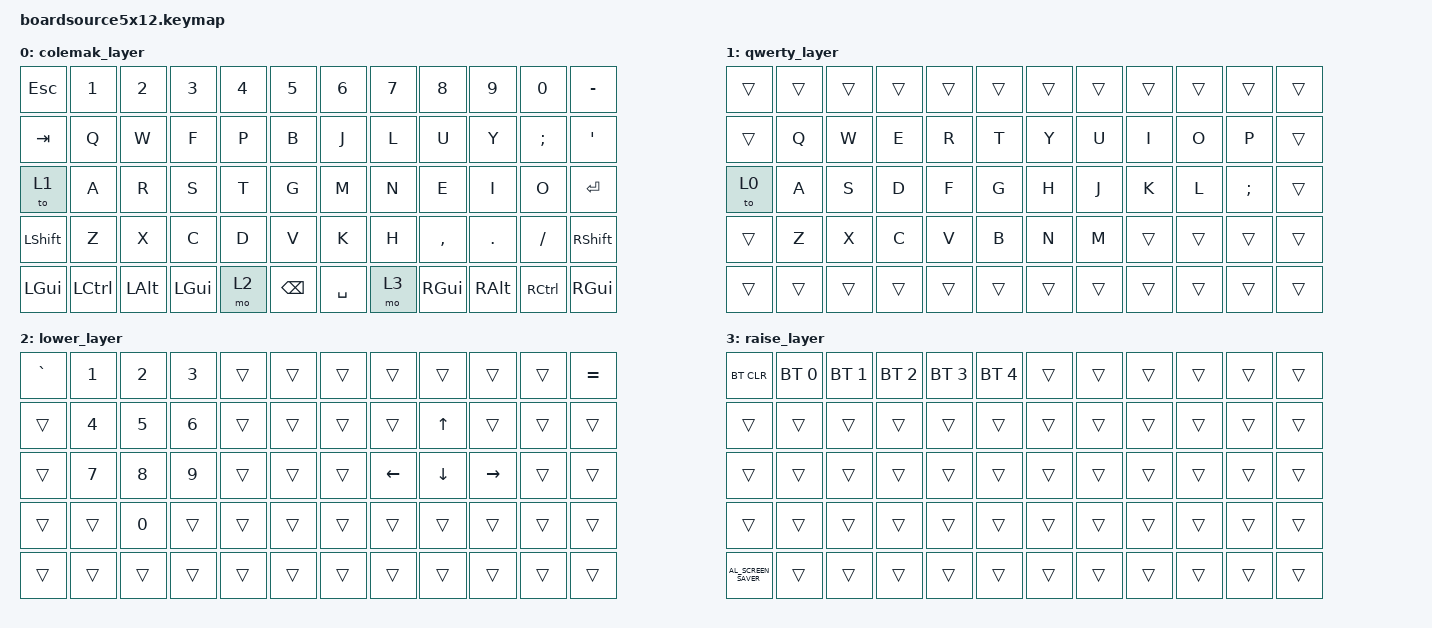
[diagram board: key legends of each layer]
/*
 * Copyright (c) 2021 The ZMK Contributors
 *
 * SPDX-License-Identifier: MIT
 */
 
#include <behaviors.dtsi>
#include <dt-bindings/zmk/keys.h>
#include <dt-bindings/zmk/bt.h>
#include <dt-bindings/zmk/outputs.h>

#define	COLEMAK	0
#define	QWERTY	1
#define	LOWER	2
#define	RAISE	3

/ {
    keymap {
        compatible = "zmk,keymap";

        colemak_layer {
            // ------------------------------------------------------------------------------------------
            // |  ESC  |  1   |  2   |  3   |  4   |  5   |   6   |   7   |  8   |  9   |   0   |   -   |
            // |  TAB  |  Q   |  W   |  F   |  P   |  B   |   J   |   L   |  U   |  Y   |   ;   |   '   |
            // | TO(1) |  A   |  R   |  S   |  T   |  G   |   M   |   N   |  E   |  I   |   O   | ENTER |
            // | SHIFT |  Z   |  X   |  C   |  D   |  V   |   K   |   H   |  ,   |  .   |   /   | SHIFT |
            // |  LGUI | LCTL | LALT | LGUI | LOWR | BKSPC| SPACE |  RAIS | RGUI | RALT | RCTL  |  RGUI |


            bindings = <
                &kp ESC    &kp N1       &kp N2      &kp N3   &kp N4     &kp N5      &kp N6      &kp N7  &kp N8      &kp N9      &kp N0      &kp MINUS
                &kp TAB    &kp Q        &kp W       &kp F    &kp P      &kp B       &kp J       &kp L   &kp U       &kp Y       &kp SEMI    &kp SQT
                &to 1	   &kp A        &kp R       &kp S    &kp T      &kp G       &kp M       &kp N   &kp E       &kp I       &kp O	    &kp RET
                &kp LSHFT  &kp Z        &kp X       &kp C    &kp D      &kp V       &kp K       &kp H   &kp COMMA   &kp DOT     &kp FSLH    &kp RSHFT
                &kp LGUI   &kp LCTRL    &kp LALT    &kp LGUI &mo 2      &kp BSPC    &kp SPACE   &mo 3   &kp RGUI    &kp RALT    &kp RCTRL   &kp RGUI
            >;
        };

        qwerty_layer {
           // ------------------------------------------------------------------------------------------
            // |       |      |      |      |      |      |       |       |      |      |       |       |
            // |       |  Q   |  W   |  E   |  R   |  T   |   Y   |   U   |  I   |  O   |   P   |       |
            // | TO(0) |  A   |  S   |  D   |  F   |  G   |   H   |   J   |  K   |  L   |   ;   |       |
            // |       |  Z   |  X   |  C   |  V   |  B   |   N   |   M   |      |      |       |       |
            // |       |      |      |      |      |      |       |       |      |      |       | 	|
	    
	    
            bindings = <
                &trans	&trans	&trans	&trans	&trans	&trans	&trans	&trans	&trans	&trans	&trans	  &trans
                &trans	&kp Q	&kp W	&kp E	&kp R	&kp T	&kp Y	&kp U	&kp I	&kp O	&kp P	  &trans
                &to 0	&kp A	&kp S	&kp D	&kp F	&kp G	&kp H	&kp J	&kp K	&kp L	&kp SEMI  &trans
                &trans	&kp Z	&kp X	&kp C	&kp V	&kp B	&kp N	&kp M	&trans	&trans	&trans	  &trans
               	&trans	&trans	&trans	&trans	&trans	&trans	&trans	&trans	&trans	&trans	&trans	  &trans
            >;
        };

        lower_layer {
            // -----------------------------------------------------------------------------------------
            // |   `   |   1  |   2  |   3  |      |      |       |       |      |      |       |   +   |
            // |       |   4  |   5  |   6  |      |      |       |       |   ^  |      |       |       |
            // |       |   7  |   8  |   9  |      |      |       |   <-  |   V  |  ->  |       |       |
            // |       |      |   0  |      |      |      |       |       |      |      |       |       |
            // |       |      |      |      |      |      |       |       |      |      |       |       |
	    
	    
            bindings = <
                &kp GRAVE	&kp N1	&kp N2	&kp N3	&trans	&trans	&trans	&trans		&trans		&trans		&trans	  &kp EQUAL
                &trans		&kp N4	&kp N5	&kp N6	&trans	&trans	&trans	&trans		&kp UP		&trans		&trans	  &trans
                &trans		&kp N7	&kp N8	&kp N9	&trans	&trans	&trans	&kp LEFT	&kp DOWN	&kp RIGHT	&trans	  &trans
                &trans		&trans	&kp N0	&trans	&trans	&trans	&trans	&trans		&trans		&trans		&trans	  &trans
               	&trans		&trans	&trans	&trans	&trans	&trans	&trans	&trans		&trans		&trans		&trans 	  &trans
            >;
        };

        raise_layer {
            // -----------------------------------------------------------------------------------------
            // | BTCLR | BT1  | BT2  | BT3  | BT4  | BT5  |       |       |      |      |       |       |
            // | MCTRL | APPEX| LPAD |      |      |      |       |       |      |      |       |       |
            // | SBUP  | SBDN |      |      |      |      |       |       |      |      |       |       |
            // |       |      |      |      |      |      |       |       |      |      |       |       |
            // | SSVR  |      |      |      |      |      |       |       |      |      |       |       |
	    
	    
           bindings = <
                &bt BT_CLR		&bt BT_SEL 0	&bt BT_SEL 1	&bt BT_SEL 2	&bt BT_SEL 3	&bt BT_SEL 4	&trans	&trans	&trans	&trans	&trans	  &trans
                &trans			&trans		&trans		&trans		&trans		&trans		&trans	&trans	&trans	&trans	&trans	  &trans
                &trans			&trans		&trans		&trans		&trans		&trans		&trans	&trans	&trans	&trans	&trans	  &trans
                &trans			&trans		&trans		&trans		&trans		&trans		&trans	&trans	&trans	&trans	&trans	  &trans
               	&kp C_AL_SCREEN_SAVER	&trans		&trans		&trans		&trans		&trans		&trans	&trans	&trans	&trans	&trans    &trans
            >;
        };
    };
};
